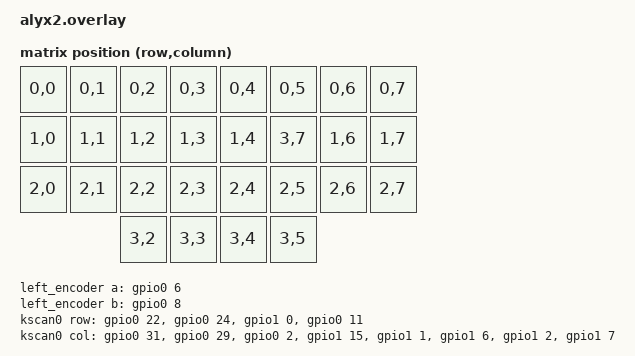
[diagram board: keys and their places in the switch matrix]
#include <dt-bindings/zmk/matrix_transform.h>
#include <dt-bindings/zmk/pointing.h>
#include <input/processors.dtsi>

&pro_micro_spi {
    status = "okay";
    cs-gpios = <&gpio0 9 GPIO_ACTIVE_LOW>;
    glidepoint: glidepoint@0 {
        compatible = "cirque,pinnacle";
        status = "okay";
        reg = <0>;
        dr-gpios = <&gpio1 4 (GPIO_ACTIVE_HIGH)>;
        sensitivity = "4x";
        x-invert;
        spi-max-frequency = <400000>;
        x-axis-z-min = <10>;
        y-axis-z-min = <10>;
    };
};

/ {
    glidepoint_listener: glidepoint_listener {
        input-processors = <&zip_xy_scaler 6 2>;
        compatible = "zmk,input-listener";
        status = "okay";
        device = <&glidepoint>;
    };

    chosen {
        zmk,kscan = &kscan0;
        zmk,matrix_transform = &default_transform;
    };

    left_encoder: encoder_left {
        compatible = "alps,ec11";
        label = "LEFT_ENCODER";
        b-gpios = <&gpio0 8 (GPIO_ACTIVE_HIGH | GPIO_PULL_UP)>;
        a-gpios = <&gpio0 6 (GPIO_ACTIVE_HIGH | GPIO_PULL_UP)>;
        status = "okay";
        steps = <96>;
    };

    sensors {
        compatible = "zmk,keymap-sensors";
        sensors = <&left_encoder>;
        triggers-per-rotation = <48>;
    };

    default_transform: keymap_transform_0 {
        compatible = "zmk,matrix-transform";
        columns = <8>;
        rows = <4>;
        map = <
            RC(0,0) RC(0,1) RC(0,2) RC(0,3) RC(0,4) RC(0,5) RC(0,6) RC(0,7)
            RC(1,0) RC(1,1) RC(1,2) RC(1,3) RC(1,4) RC(3,7) RC(1,6) RC(1,7)
            RC(2,0) RC(2,1) RC(2,2) RC(2,3) RC(2,4) RC(2,5) RC(2,6) RC(2,7)
                            RC(3,2) RC(3,3) RC(3,4) RC(3,5)
        >;
    };

    kscan0: kscan_0 {
        compatible = "zmk,kscan-gpio-matrix";
        label = "KSCAN";
        diode-direction = "col2row";

        col-gpios
            = <&gpio0 31  (GPIO_ACTIVE_HIGH)>
            , <&gpio0 29  (GPIO_ACTIVE_HIGH)>
            , <&gpio0 2  (GPIO_ACTIVE_HIGH)>
            , <&gpio1 15  (GPIO_ACTIVE_HIGH)>
            , <&gpio1 1  (GPIO_ACTIVE_HIGH)>
            , <&gpio1 6 (GPIO_ACTIVE_HIGH)>
            , <&gpio1 2  (GPIO_ACTIVE_HIGH)>
            , <&gpio1 7  (GPIO_ACTIVE_HIGH)>
            ;

        row-gpios
            = <&gpio0 22 (GPIO_ACTIVE_HIGH | GPIO_PULL_DOWN)>
            , <&gpio0 24 (GPIO_ACTIVE_HIGH | GPIO_PULL_DOWN)>
            , <&gpio1 0 (GPIO_ACTIVE_HIGH | GPIO_PULL_DOWN)>
            , <&gpio0 11 (GPIO_ACTIVE_HIGH | GPIO_PULL_DOWN)>
            ;
    };
};
